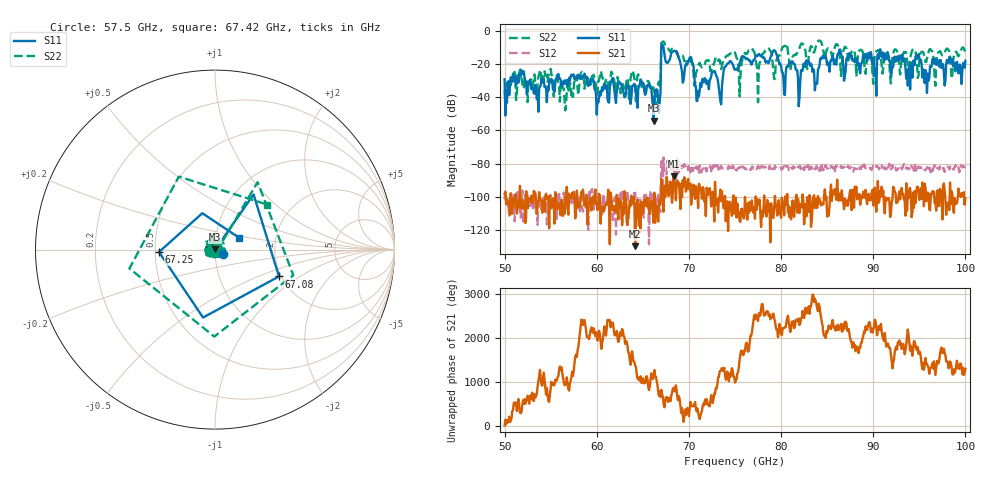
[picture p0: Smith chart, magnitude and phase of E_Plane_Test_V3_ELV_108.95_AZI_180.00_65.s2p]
! 11/26/2026 4:43:04 PM
! C:\ANRITSUVNA\TEMP\TEMP.S2P
! CHANNEL.1
! TR.MEASUREMENT
! RAW.DATA
# HZ S RI R 50.0
! FREQ.HZ  S11RE  S11IM  S21RE  S21IM  S12RE  S12IM  S22RE  S22IM
!; PortSelection: Port_12
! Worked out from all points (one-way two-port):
!   601 points, 50 GHz to 100 GHz, reference 50 ohm
!   highest |S21| = -87.79 dB at 68.33 GHz (marker M1); lowest = -130.0 dB at 64.17 GHz (marker M2)
!   lowest |S11| = -54.2 dB at 66.17 GHz (marker M3), VSWR 1.00, Z = 50.1 + j0.141 ohm
!   |S11| at or under -10 dB: start of sweep to 67 GHz; 67.24 GHz to end of sweep
!   |S22| runs from -47.9 to -5.6 dB; largest |S21 - S12| = 0.00016
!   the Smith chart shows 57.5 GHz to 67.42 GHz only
!   S11 on the Smith chart (normalised r, x): 57.5 GHz: 1.09, -0.05; 67.08 GHz: 1.95, -0.69; 67.25 GHz: 0.52, -0.02; 67.42 GHz: 1.29, +0.18
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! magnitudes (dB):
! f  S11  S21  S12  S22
! 50 GHz  -29.0  -98.4  -101.7  -35.8
! 57.5 GHz  -26.2  -97.2  -97.8  -34.7
! 58.42 GHz  -27.1  -98.6  -106.5  -24.7
! 60.17 GHz  -43.0  -103.5  -104.3  -30.4
! 64.17 GHz  -33.7  -130.0  -96.6  -33.8
! 66.17 GHz  -54.2  -115.8  -112.3  -34.0
! 66.67 GHz  -41.5  -115.1  -98.9  -31.6
! 67.08 GHz  -8.3  -95.1  -78.5  -6.8
! 67.25 GHz  -10.1  -109.2  -76.4  -6.2
! 67.42 GHz  -16.5  -100.4  -86.9  -8.3
! 68.33 GHz  -12.0  -87.8  -79.2  -11.4
! 70.25 GHz  -16.0  -104.8  -81.1  -18.8
! 70.92 GHz  -42.1  -97.6  -81.9  -23.1
! 75 GHz  -23.3  -100.9  -82.0  -13.0
! 79.25 GHz  -11.5  -107.5  -83.6  -29.0
! 80.25 GHz  -28.0  -103.9  -83.8  -9.3
! 83.42 GHz  -24.6  -106.3  -81.3  -10.8
! 91.67 GHz  -16.8  -101.0  -82.1  -15.2
! 93.75 GHz  -32.9  -98.5  -83.4  -21.3
! 94.83 GHz  -15.0  -94.0  -82.5  -28.2
! 95.83 GHz  -37.3  -99.7  -82.4  -16.6
! 100 GHz  -17.9  -101.1  -82.5  -12.6
